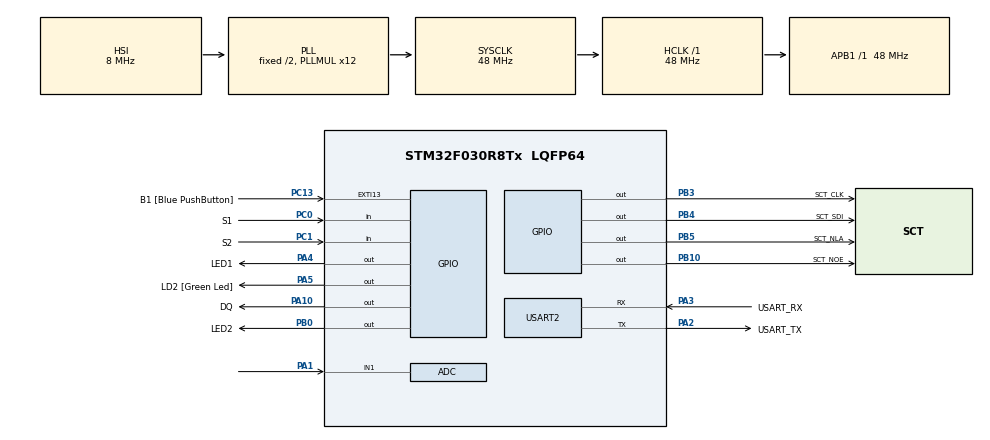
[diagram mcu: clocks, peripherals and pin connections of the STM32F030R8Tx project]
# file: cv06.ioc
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ADC.ContinuousConvMode=ENABLE
ADC.Overrun=ADC_OVR_DATA_OVERWRITTEN
ADC.Resolution=ADC_RESOLUTION_10B
Mcu.Family=STM32F0
Mcu.Name=STM32F030R8Tx
Mcu.Package=LQFP64
PA1.Mode=IN1
PA1.Signal=ADC_IN1
PA10.GPIO_Label=DQ
PA10.GPIO_ModeDefaultOutputPP=GPIO_MODE_OUTPUT_OD
PA10.GPIO_PuPd=GPIO_NOPULL
PA10.PinState=GPIO_PIN_SET
PA10.Signal=GPIO_Output
PA13.GPIO_Label=TMS
PA13.Mode=Serial_Wire
PA13.Signal=SYS_SWDIO
PA14.GPIO_Label=TCK
PA14.Mode=Serial_Wire
PA14.Signal=SYS_SWCLK
PA2.GPIO_Label=USART_TX
PA2.GPIO_Mode=GPIO_MODE_AF_PP
PA2.GPIO_PuPd=GPIO_NOPULL
PA2.GPIO_Speed=GPIO_SPEED_FREQ_LOW
PA2.Mode=Asynchronous
PA2.Signal=USART2_TX
PA3.GPIO_Label=USART_RX
PA3.GPIO_Mode=GPIO_MODE_AF_PP
PA3.GPIO_PuPd=GPIO_NOPULL
PA3.GPIO_Speed=GPIO_SPEED_FREQ_LOW
PA3.Mode=Asynchronous
PA3.Signal=USART2_RX
PA4.GPIO_Label=LED1
PA4.Signal=GPIO_Output
PA5.GPIO_Label=LD2 [Green Led]
PA5.GPIO_Mode=GPIO_MODE_OUTPUT_PP
PA5.GPIO_PuPd=GPIO_NOPULL
PA5.GPIO_Speed=GPIO_SPEED_FREQ_LOW
PA5.Signal=GPIO_Output
PB0.GPIO_Label=LED2
PB0.Signal=GPIO_Output
PB10.GPIO_Label=SCT_NOE
PB10.Signal=GPIO_Output
PB3.GPIO_Label=SCT_CLK
PB3.Signal=GPIO_Output
PB4.GPIO_Label=SCT_SDI
PB4.Signal=GPIO_Output
PB5.GPIO_Label=SCT_NLA
PB5.Signal=GPIO_Output
PC0.GPIO_Label=S1
PC0.GPIO_PuPd=GPIO_PULLUP
PC0.Signal=GPIO_Input
PC1.GPIO_Label=S2
PC1.GPIO_PuPd=GPIO_PULLUP
PC1.Signal=GPIO_Input
PC13.GPIO_Label=B1 [Blue PushButton]
PC13.GPIO_ModeDefaultEXTI=GPIO_MODE_IT_FALLING
PC13.Signal=GPXTI13
PC14-OSC32_IN.Mode=LSE-External-Oscillator
PC14-OSC32_IN.Signal=RCC_OSC32_IN
PC15-OSC32_OUT.Mode=LSE-External-Oscillator
PC15-OSC32_OUT.Signal=RCC_OSC32_OUT
PF0-OSC_IN.Mode=HSE-External-Clock-Source
PF0-OSC_IN.Signal=RCC_OSC_IN
PF1-OSC_OUT.Signal=RCC_OSC_OUT
ProjectManager.HeapSize=0x200
ProjectManager.StackSize=0x400
ProjectManager.TargetToolchain=STM32CubeIDE
RCC.AHBFreq_Value=48000000
RCC.APB1Freq_Value=48000000
RCC.APB1TimFreq_Value=48000000
RCC.HCLKFreq_Value=48000000
RCC.PLLMUL=RCC_PLL_MUL12
RCC.SYSCLKFreq_VALUE=48000000
RCC.SYSCLKSource=RCC_SYSCLKSOURCE_PLLCLK
USART2.VirtualMode-Asynchronous=VM_ASYNC
board=NUCLEO-F030R8

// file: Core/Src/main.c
/* USER CODE BEGIN Header */
/**
 ******************************************************************************
 * @file           : main.c
 * @brief          : Main program body
 ******************************************************************************
 * @attention
 *
 * Copyright (c) 2023 STMicroelectronics.
 * All rights reserved.
 *
 * This software is licensed under terms that can be found in the LICENSE file
 * in the root directory of this software component.
 * If no LICENSE file comes with this software, it is provided AS-IS.
 *
 ******************************************************************************
 */
/* USER CODE END Header */
#include "main.h"

/* USER CODE BEGIN Includes */
#include "1wire.h"
#include <sct.h>
/* USER CODE END Includes */

/* USER CODE BEGIN PD */
static const uint16_t ntc_data[] = {
#include "data.dlm"
		};
#define LED_ON 1
#define LED_OFF 0
/* USER CODE END PD */

ADC_HandleTypeDef hadc;

UART_HandleTypeDef huart2;

/* USER CODE BEGIN PV */
int16_t temp_18b20;
int16_t temp_data;
/* USER CODE END PV */

void SystemClock_Config(void);
static void MX_GPIO_Init(void);
static void MX_USART2_UART_Init(void);
static void MX_ADC_Init(void);

int main(void) {

	/* MCU Configuration--------------------------------------------------------*/

	/* Reset of all peripherals, Initializes the Flash interface and the Systick. */
	HAL_Init();

	/* USER CODE BEGIN Init */

	//initialization of DS18B20
	//initialization of NTC
	/* USER CODE END Init */

	/* Configure the system clock */
	SystemClock_Config();

	/* Initialize all configured peripherals */
	MX_GPIO_Init();
	MX_USART2_UART_Init();
	MX_ADC_Init();
	/* USER CODE BEGIN 2 */
	HAL_ADCEx_Calibration_Start(&hadc);
	HAL_ADC_Start(&hadc);
	OWInit();
	/* USER CODE END 2 */

	/* Infinite loop */
	/* USER CODE BEGIN WHILE */
	while (1) {
		// converting and reading from DS18B20
		OWConvertAll();
		//HAL_Delay(CONVERT_T_DELAY);
		OWReadTemperature(&temp_18b20);

		// converting and reading from DS18B20
		temp_data = ntc_data[HAL_ADC_GetValue(&hadc)];
		//stavovy automat

		static enum {
			SHOW_NTC, SHOW_DS18B20
		} state = SHOW_DS18B20;

		if (!HAL_GPIO_ReadPin(S1_GPIO_Port, S1_Pin)) {
			state = SHOW_DS18B20;
			//Tick = HAL_GetTick();
		}
		if (!HAL_GPIO_ReadPin(S2_GPIO_Port, S2_Pin)) {
			state = SHOW_NTC;
			//Tick = HAL_GetTick();

		}

		/*if (HAL_GetTick() > Tick + DISPLAY_DELAY) {
		 state = SHOW_DS18B20;

		 }*/
		switch (state) {
		case SHOW_DS18B20:
			// writitng on display DS18B20
			sct_value((temp_18b20 + 5) / 10, 0, 2);
			HAL_GPIO_WritePin(LED2_GPIO_Port, LED2_Pin, LED_OFF);
			HAL_GPIO_WritePin(LED1_GPIO_Port, LED1_Pin, LED_ON);
			HAL_Delay(10);
			break;
		case SHOW_NTC:
			// writitng on display NTC
			sct_value((temp_data), 0, 2);
			HAL_GPIO_WritePin(LED1_GPIO_Port, LED1_Pin, LED_OFF);
			HAL_GPIO_WritePin(LED2_GPIO_Port, LED2_Pin, LED_ON);
			HAL_Delay(10);
			break;
		default:
			break;

			HAL_Delay(40);
		}

		/* USER CODE END WHILE */

	}
}

void SystemClock_Config(void) {
	RCC_OscInitTypeDef RCC_OscInitStruct = { 0 };
	RCC_ClkInitTypeDef RCC_ClkInitStruct = { 0 };

	/** Initializes the RCC Oscillators according to the specified parameters
	 * in the RCC_OscInitTypeDef structure.
	 */
	RCC_OscInitStruct.OscillatorType = RCC_OSCILLATORTYPE_HSI
			| RCC_OSCILLATORTYPE_HSI14;
	RCC_OscInitStruct.HSIState = RCC_HSI_ON;
	RCC_OscInitStruct.HSI14State = RCC_HSI14_ON;
	RCC_OscInitStruct.HSICalibrationValue = RCC_HSICALIBRATION_DEFAULT;
	RCC_OscInitStruct.HSI14CalibrationValue = 16;
	RCC_OscInitStruct.PLL.PLLState = RCC_PLL_ON;
	RCC_OscInitStruct.PLL.PLLSource = RCC_PLLSOURCE_HSI;
	RCC_OscInitStruct.PLL.PLLMUL = RCC_PLL_MUL12;
	RCC_OscInitStruct.PLL.PREDIV = RCC_PREDIV_DIV1;
	if (HAL_RCC_OscConfig(&RCC_OscInitStruct) != HAL_OK) {
		Error_Handler();
	}

	/** Initializes the CPU, AHB and APB buses clocks
	 */
	RCC_ClkInitStruct.ClockType = RCC_CLOCKTYPE_HCLK | RCC_CLOCKTYPE_SYSCLK
			| RCC_CLOCKTYPE_PCLK1;
	RCC_ClkInitStruct.SYSCLKSource = RCC_SYSCLKSOURCE_PLLCLK;
	RCC_ClkInitStruct.AHBCLKDivider = RCC_SYSCLK_DIV1;
	RCC_ClkInitStruct.APB1CLKDivider = RCC_HCLK_DIV1;

	if (HAL_RCC_ClockConfig(&RCC_ClkInitStruct, FLASH_LATENCY_1) != HAL_OK) {
		Error_Handler();
	}
}

static void MX_ADC_Init(void) {

	ADC_ChannelConfTypeDef sConfig = { 0 };

	/** Configure the global features of the ADC (Clock, Resolution, Data Alignment and number of conversion)
	 */
	hadc.Instance = ADC1;
	hadc.Init.ClockPrescaler = ADC_CLOCK_ASYNC_DIV1;
	hadc.Init.Resolution = ADC_RESOLUTION_10B;
	hadc.Init.DataAlign = ADC_DATAALIGN_RIGHT;
	hadc.Init.ScanConvMode = ADC_SCAN_DIRECTION_FORWARD;
	hadc.Init.EOCSelection = ADC_EOC_SINGLE_CONV;
	hadc.Init.LowPowerAutoWait = DISABLE;
	hadc.Init.LowPowerAutoPowerOff = DISABLE;
	hadc.Init.ContinuousConvMode = ENABLE;
	hadc.Init.DiscontinuousConvMode = DISABLE;
	hadc.Init.ExternalTrigConv = ADC_SOFTWARE_START;
	hadc.Init.ExternalTrigConvEdge = ADC_EXTERNALTRIGCONVEDGE_NONE;
	hadc.Init.DMAContinuousRequests = DISABLE;
	hadc.Init.Overrun = ADC_OVR_DATA_OVERWRITTEN;
	if (HAL_ADC_Init(&hadc) != HAL_OK) {
		Error_Handler();
	}

	/** Configure for the selected ADC regular channel to be converted.
	 */
	sConfig.Channel = ADC_CHANNEL_1;
	sConfig.Rank = ADC_RANK_CHANNEL_NUMBER;
	sConfig.SamplingTime = ADC_SAMPLETIME_1CYCLE_5;
	if (HAL_ADC_ConfigChannel(&hadc, &sConfig) != HAL_OK) {
		Error_Handler();
	}

}

static void MX_USART2_UART_Init(void) {

	huart2.Instance = USART2;
	huart2.Init.BaudRate = 38400;
	huart2.Init.WordLength = UART_WORDLENGTH_8B;
	huart2.Init.StopBits = UART_STOPBITS_1;
	huart2.Init.Parity = UART_PARITY_NONE;
	huart2.Init.Mode = UART_MODE_TX_RX;
	huart2.Init.HwFlowCtl = UART_HWCONTROL_NONE;
	huart2.Init.OverSampling = UART_OVERSAMPLING_16;
	huart2.Init.OneBitSampling = UART_ONE_BIT_SAMPLE_DISABLE;
	huart2.AdvancedInit.AdvFeatureInit = UART_ADVFEATURE_NO_INIT;
	if (HAL_UART_Init(&huart2) != HAL_OK) {
		Error_Handler();
	}

}

static void MX_GPIO_Init(void) {
	GPIO_InitTypeDef GPIO_InitStruct = { 0 };

	/* GPIO Ports Clock Enable */
	__HAL_RCC_GPIOC_CLK_ENABLE();
	__HAL_RCC_GPIOF_CLK_ENABLE();
	__HAL_RCC_GPIOA_CLK_ENABLE();
	__HAL_RCC_GPIOB_CLK_ENABLE();

	/*Configure GPIO pin Output Level */
	HAL_GPIO_WritePin(GPIOA, LED1_Pin | LD2_Pin, GPIO_PIN_RESET);

	/*Configure GPIO pin Output Level */
	HAL_GPIO_WritePin(GPIOB,
			LED2_Pin | SCT_NOE_Pin | SCT_CLK_Pin | SCT_SDI_Pin | SCT_NLA_Pin,
			GPIO_PIN_RESET);

	/*Configure GPIO pin Output Level */
	HAL_GPIO_WritePin(DQ_GPIO_Port, DQ_Pin, GPIO_PIN_SET);

	/*Configure GPIO pin : B1_Pin */
	GPIO_InitStruct.Pin = B1_Pin;
	GPIO_InitStruct.Mode = GPIO_MODE_IT_FALLING;
	GPIO_InitStruct.Pull = GPIO_NOPULL;
	HAL_GPIO_Init(B1_GPIO_Port, &GPIO_InitStruct);

	/*Configure GPIO pins : S1_Pin S2_Pin */
	GPIO_InitStruct.Pin = S1_Pin | S2_Pin;
	GPIO_InitStruct.Mode = GPIO_MODE_INPUT;
	GPIO_InitStruct.Pull = GPIO_PULLUP;
	HAL_GPIO_Init(GPIOC, &GPIO_InitStruct);

	/*Configure GPIO pins : LED1_Pin LD2_Pin */
	GPIO_InitStruct.Pin = LED1_Pin | LD2_Pin;
	GPIO_InitStruct.Mode = GPIO_MODE_OUTPUT_PP;
	GPIO_InitStruct.Pull = GPIO_NOPULL;
	GPIO_InitStruct.Speed = GPIO_SPEED_FREQ_LOW;
	HAL_GPIO_Init(GPIOA, &GPIO_InitStruct);

	/*Configure GPIO pins : LED2_Pin SCT_NOE_Pin SCT_CLK_Pin SCT_SDI_Pin
	 SCT_NLA_Pin */
	GPIO_InitStruct.Pin = LED2_Pin | SCT_NOE_Pin | SCT_CLK_Pin | SCT_SDI_Pin
			| SCT_NLA_Pin;
	GPIO_InitStruct.Mode = GPIO_MODE_OUTPUT_PP;
	GPIO_InitStruct.Pull = GPIO_NOPULL;
	GPIO_InitStruct.Speed = GPIO_SPEED_FREQ_LOW;
	HAL_GPIO_Init(GPIOB, &GPIO_InitStruct);

	/*Configure GPIO pin : DQ_Pin */
	GPIO_InitStruct.Pin = DQ_Pin;
	GPIO_InitStruct.Mode = GPIO_MODE_OUTPUT_OD;
	GPIO_InitStruct.Pull = GPIO_NOPULL;
	GPIO_InitStruct.Speed = GPIO_SPEED_FREQ_LOW;
	HAL_GPIO_Init(DQ_GPIO_Port, &GPIO_InitStruct);

}

void Error_Handler(void) {
	__disable_irq();
	while (1) {
	}
}
